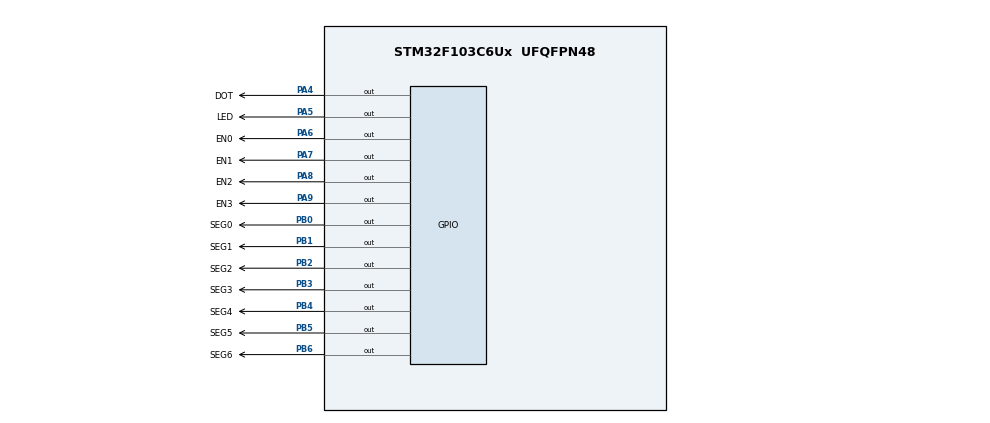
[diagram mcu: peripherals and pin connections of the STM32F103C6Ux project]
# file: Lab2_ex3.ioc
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Mcu.Family=STM32F1
Mcu.Name=STM32F103C6Ux
Mcu.Package=UFQFPN48
NVIC.PriorityGroup=NVIC_PRIORITYGROUP_4
NVIC.TIM2_IRQn=true\:0\:0\:false\:false\:true\:true\:true\:true
PA4.GPIO_Label=DOT
PA4.Signal=GPIO_Output
PA5.GPIO_Label=LED
PA5.Signal=GPIO_Output
PA6.GPIO_Label=EN0
PA6.Signal=GPIO_Output
PA7.GPIO_Label=EN1
PA7.Signal=GPIO_Output
PA8.GPIO_Label=EN2
PA8.Signal=GPIO_Output
PA9.GPIO_Label=EN3
PA9.Signal=GPIO_Output
PB0.GPIO_Label=SEG0
PB0.Signal=GPIO_Output
PB1.GPIO_Label=SEG1
PB1.Signal=GPIO_Output
PB2.GPIO_Label=SEG2
PB2.Signal=GPIO_Output
PB3.GPIO_Label=SEG3
PB3.Signal=GPIO_Output
PB4.GPIO_Label=SEG4
PB4.Signal=GPIO_Output
PB5.GPIO_Label=SEG5
PB5.Signal=GPIO_Output
PB6.GPIO_Label=SEG6
PB6.Signal=GPIO_Output
ProjectManager.HeapSize=0x200
ProjectManager.StackSize=0x400
ProjectManager.TargetToolchain=STM32CubeIDE
RCC.APB1Freq_Value=8000000
RCC.APB2Freq_Value=8000000
TIM2.Period=9
TIM2.Prescaler=7999
VP_TIM2_VS_ClockSourceINT.Mode=Internal
board=custom

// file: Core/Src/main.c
/* USER CODE BEGIN Header */
/**
  ******************************************************************************
  * @file           : main.c
  * @brief          : Main program body
  ******************************************************************************
  * @attention
  *
  * Copyright (c) 2023 STMicroelectronics.
  * All rights reserved.
  *
  * This software is licensed under terms that can be found in the LICENSE file
  * in the root directory of this software component.
  * If no LICENSE file comes with this software, it is provided AS-IS.
  *
  ******************************************************************************
  */
/* USER CODE END Header */
#include "main.h"

/* USER CODE BEGIN Includes */
#include "software_timer.h"
/* USER CODE END Includes */

TIM_HandleTypeDef htim2;

void SystemClock_Config(void);
static void MX_GPIO_Init(void);
static void MX_TIM2_Init(void);

/* USER CODE BEGIN 0 */
const uint8_t led_pattern[] = {
	    0b0111111, // 0
	    0b0000110, // 1
	    0b1011011, // 2
	    0b1001111, // 3
	    0b1100110, // 4
	    0b1101101, // 5
	    0b1111101, // 6
	    0b0000111, // 7
	    0b1111111, // 8
	    0b1101111  // 9
};

const int MAX_LED = 4;
int index_led = 0;
int led_buffer[4] = {1, 2, 3, 4};
uint16_t seg7_pin = GPIO_PIN_0|GPIO_PIN_1|GPIO_PIN_2|GPIO_PIN_3|GPIO_PIN_4|GPIO_PIN_5|GPIO_PIN_6;

void update7SEG(int index) {
	switch (index) {
	case 0:
		HAL_GPIO_WritePin(EN0_GPIO_Port, EN0_Pin, GPIO_PIN_RESET);
		HAL_GPIO_WritePin(EN0_GPIO_Port, EN1_Pin|EN2_Pin|EN3_Pin, GPIO_PIN_SET);

		break;
	case 1:
		HAL_GPIO_WritePin(EN0_GPIO_Port, EN1_Pin, GPIO_PIN_RESET);
		HAL_GPIO_WritePin(EN0_GPIO_Port, EN0_Pin|EN2_Pin|EN3_Pin, GPIO_PIN_SET);

		break;
	case 2:
		HAL_GPIO_WritePin(EN0_GPIO_Port, EN2_Pin, GPIO_PIN_RESET);
		HAL_GPIO_WritePin(EN0_GPIO_Port, EN0_Pin|EN1_Pin|EN3_Pin, GPIO_PIN_SET);

		break;
	case 3:
		HAL_GPIO_WritePin(EN0_GPIO_Port, EN3_Pin, GPIO_PIN_RESET);
		HAL_GPIO_WritePin(EN0_GPIO_Port, EN0_Pin|EN1_Pin|EN2_Pin, GPIO_PIN_SET);

		break;
	default:
		break;
	}

	HAL_GPIO_WritePin(GPIOB, seg7_pin & led_pattern[led_buffer[index]], GPIO_PIN_RESET);
	HAL_GPIO_WritePin(GPIOB, seg7_pin & ~led_pattern[led_buffer[index]], GPIO_PIN_SET);
}

void updateClockBuffer(int minute, int hour) {
	if (hour < 10) {
		led_buffer[0] = 0;
		led_buffer[1] = hour;
	} else {
		led_buffer[0] = hour / 10;
		led_buffer[1] = hour % 10;
	}
	if (minute < 10) {
		led_buffer[2] = 0;
		led_buffer[3] = minute;
	} else {
		led_buffer[2] = minute / 10;
		led_buffer[3] = minute % 10;
	}
}

/* USER CODE END 0 */

int main(void)
{

  /* MCU Configuration--------------------------------------------------------*/

  /* Reset of all peripherals, Initializes the Flash interface and the Systick. */
  HAL_Init();

  /* Configure the system clock */
  SystemClock_Config();

  /* Initialize all configured peripherals */
  MX_GPIO_Init();
  MX_TIM2_Init();
  /* USER CODE BEGIN 2 */
  HAL_TIM_Base_Start_IT(&htim2);
  /* USER CODE END 2 */

  /* Infinite loop */
  /* USER CODE BEGIN WHILE */

// ex3
//  update7SEG(0);
//  HAL_Delay(1000);
//  update7SEG(1);
//  HAL_Delay(1000);
//  update7SEG(2);
//  HAL_Delay(1000);
//  update7SEG(3);
//  HAL_Delay(1000);

// ex4
//  setTimer1(100);
//  int state = 0;

// ex5
//  int hour = 15, minute = 8, second = 50;

// ex7
  int index = 0;
  int hour = 15, minute = 10, second = 0;
  setTimer1(100);
  setTimer2(50);
  while (1)
  {
// ex4
//	  if (timer1_flag == 1) {
//		  setTimer1(100);
//		  HAL_GPIO_TogglePin(DOT_GPIO_Port, DOT_Pin);
//		  HAL_GPIO_TogglePin(LED_GPIO_Port, LED_Pin);
//		  update7SEG(state);
//		  state++;
//		  if (state >= 4) {
//			  state = 0;
//		  }
//	  }

// ex5
//	  second++;
//	  if (second >= 60) {
//		  second = 0;
//		  minute++;
//	  }
//	  if (minute >= 60) {
//		  minute = 0;
//		  hour++;
//	  }
//	  if (hour >= 24) {
//		  hour = 0;
//	  }
//	  updateClockBuffer(minute, hour);
//	  HAL_Delay(1000);

// ex7
	  if (timer1_flag == 1) {
		  setTimer1(100);
		  HAL_GPIO_TogglePin(DOT_GPIO_Port, DOT_Pin);
		  second++;
		  if (second >= 60) {
			  second = 0;
			  minute++;
		  }
		  if (minute >= 60) {
			  minute = 0;
			  hour++;
		  }
		  if (hour >= 24) {
			  hour = 0;
		  }
		  updateClockBuffer(minute, hour);
	  }
	  if (timer2_flag == 1) {
		  setTimer2(50);
		  update7SEG(index);
		  index++;
		  if (index >= 4) {
			  index = 0;
		  }
	  }

    /* USER CODE END WHILE */

  }
}

void SystemClock_Config(void)
{
  RCC_OscInitTypeDef RCC_OscInitStruct = {0};
  RCC_ClkInitTypeDef RCC_ClkInitStruct = {0};

  /** Initializes the RCC Oscillators according to the specified parameters
  * in the RCC_OscInitTypeDef structure.
  */
  RCC_OscInitStruct.OscillatorType = RCC_OSCILLATORTYPE_HSI;
  RCC_OscInitStruct.HSIState = RCC_HSI_ON;
  RCC_OscInitStruct.HSICalibrationValue = RCC_HSICALIBRATION_DEFAULT;
  RCC_OscInitStruct.PLL.PLLState = RCC_PLL_NONE;
  if (HAL_RCC_OscConfig(&RCC_OscInitStruct) != HAL_OK)
  {
    Error_Handler();
  }

  /** Initializes the CPU, AHB and APB buses clocks
  */
  RCC_ClkInitStruct.ClockType = RCC_CLOCKTYPE_HCLK|RCC_CLOCKTYPE_SYSCLK
                              |RCC_CLOCKTYPE_PCLK1|RCC_CLOCKTYPE_PCLK2;
  RCC_ClkInitStruct.SYSCLKSource = RCC_SYSCLKSOURCE_HSI;
  RCC_ClkInitStruct.AHBCLKDivider = RCC_SYSCLK_DIV1;
  RCC_ClkInitStruct.APB1CLKDivider = RCC_HCLK_DIV1;
  RCC_ClkInitStruct.APB2CLKDivider = RCC_HCLK_DIV1;

  if (HAL_RCC_ClockConfig(&RCC_ClkInitStruct, FLASH_LATENCY_0) != HAL_OK)
  {
    Error_Handler();
  }
}

static void MX_TIM2_Init(void)
{

  TIM_ClockConfigTypeDef sClockSourceConfig = {0};
  TIM_MasterConfigTypeDef sMasterConfig = {0};

  htim2.Instance = TIM2;
  htim2.Init.Prescaler = 7999;
  htim2.Init.CounterMode = TIM_COUNTERMODE_UP;
  htim2.Init.Period = 9;
  htim2.Init.ClockDivision = TIM_CLOCKDIVISION_DIV1;
  htim2.Init.AutoReloadPreload = TIM_AUTORELOAD_PRELOAD_DISABLE;
  if (HAL_TIM_Base_Init(&htim2) != HAL_OK)
  {
    Error_Handler();
  }
  sClockSourceConfig.ClockSource = TIM_CLOCKSOURCE_INTERNAL;
  if (HAL_TIM_ConfigClockSource(&htim2, &sClockSourceConfig) != HAL_OK)
  {
    Error_Handler();
  }
  sMasterConfig.MasterOutputTrigger = TIM_TRGO_RESET;
  sMasterConfig.MasterSlaveMode = TIM_MASTERSLAVEMODE_DISABLE;
  if (HAL_TIMEx_MasterConfigSynchronization(&htim2, &sMasterConfig) != HAL_OK)
  {
    Error_Handler();
  }

}

static void MX_GPIO_Init(void)
{
  GPIO_InitTypeDef GPIO_InitStruct = {0};

  /* GPIO Ports Clock Enable */
  __HAL_RCC_GPIOA_CLK_ENABLE();
  __HAL_RCC_GPIOB_CLK_ENABLE();

  /*Configure GPIO pin Output Level */
  HAL_GPIO_WritePin(GPIOA, DOT_Pin|LED_Pin|EN0_Pin|EN1_Pin
                          |EN2_Pin|EN3_Pin, GPIO_PIN_RESET);

  /*Configure GPIO pin Output Level */
  HAL_GPIO_WritePin(GPIOB, SEG0_Pin|SEG1_Pin|SEG2_Pin|SEG3_Pin
                          |SEG4_Pin|SEG5_Pin|SEG6_Pin, GPIO_PIN_SET);

  /*Configure GPIO pins : DOT_Pin LED_Pin EN0_Pin EN1_Pin
                           EN2_Pin EN3_Pin */
  GPIO_InitStruct.Pin = DOT_Pin|LED_Pin|EN0_Pin|EN1_Pin
                          |EN2_Pin|EN3_Pin;
  GPIO_InitStruct.Mode = GPIO_MODE_OUTPUT_PP;
  GPIO_InitStruct.Pull = GPIO_NOPULL;
  GPIO_InitStruct.Speed = GPIO_SPEED_FREQ_LOW;
  HAL_GPIO_Init(GPIOA, &GPIO_InitStruct);

  /*Configure GPIO pins : SEG0_Pin SEG1_Pin SEG2_Pin SEG3_Pin
                           SEG4_Pin SEG5_Pin SEG6_Pin */
  GPIO_InitStruct.Pin = SEG0_Pin|SEG1_Pin|SEG2_Pin|SEG3_Pin
                          |SEG4_Pin|SEG5_Pin|SEG6_Pin;
  GPIO_InitStruct.Mode = GPIO_MODE_OUTPUT_PP;
  GPIO_InitStruct.Pull = GPIO_NOPULL;
  GPIO_InitStruct.Speed = GPIO_SPEED_FREQ_LOW;
  HAL_GPIO_Init(GPIOB, &GPIO_InitStruct);

}

/* USER CODE BEGIN 4 */
void HAL_TIM_PeriodElapsedCallback(TIM_HandleTypeDef *htim) {
	timerRun();
}
/* USER CODE END 4 */

void Error_Handler(void)
{
  __disable_irq();
  while (1)
  {
  }
}
